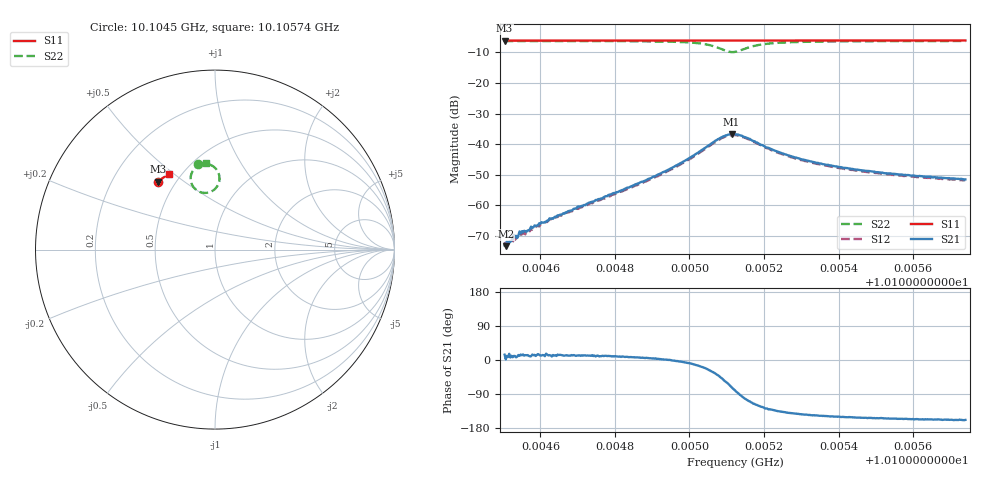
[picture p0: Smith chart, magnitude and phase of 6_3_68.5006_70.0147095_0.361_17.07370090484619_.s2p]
#  HZ  S  RI  R  50.00
! Rohde & Schwarz Vector Network Analyzer
! Rohde-Schwarz,ZNB20-2Port,1311601062101988,3.16
! Created: UTC 3/20/2024, 4:48:50 PM
! freq[Hz]  re:S11  im:S11  re:S21  im:S21  re:S12  im:S12  re:S22  im:S22
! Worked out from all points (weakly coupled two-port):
!   401 points, 10.1045 GHz to 10.10574 GHz, reference 50 ohm
!   highest |S21| = -36.68 dB at 10.10511 GHz (marker M1); lowest = -73.3 dB at 10.10451 GHz (marker M2)
!   lowest |S11| = -6.1 dB at 10.1045 GHz (marker M3), VSWR 2.94, Z = 20.2 + j20.1 ohm
!   |S11| at or under -10 dB: nowhere
!   |S22| runs from -9.9 to -6.3 dB; largest |S21 - S12| = 0.0017
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1.0104504e10  -0.3164 0.3776  0.000214 5.34e-05  0.00025 4.82e-05  -0.0972 0.4752
1.0104507e10  -0.3164 0.3778  0.000216 6.17e-06  0.000225 4.24e-05  -0.0969 0.4754
1.010452e10  -0.3158 0.3783  0.000253 2.88e-05  0.000247 7.87e-05  -0.0957 0.4757
1.0104529e10  -0.3155 0.3788  0.000326 6.14e-05  0.000266 0.000104  -0.095 0.4758
1.0104551e10  -0.3142 0.3796  0.000371 8.21e-05  0.000321 0.000106  -0.0929 0.4762
1.0104566e10  -0.3137 0.3803  0.000381 8.77e-05  0.000359 0.000102  -0.0915 0.4766
1.0104581e10  -0.3129 0.3809  0.000428 9.68e-05  0.000385 0.000133  -0.09 0.4768
1.0104625e10  -0.3111 0.3826  0.000599 0.000138  0.000558 0.000178  -0.0856 0.4775
1.0104711e10  -0.307 0.3861  0.00096 0.000212  0.000894 0.000261  -0.0757 0.4788
1.0104918e10  -0.297 0.3945  0.00323 0.000158  0.00307 0.000441  -0.0376 0.4761
1.0104986e10  -0.2937 0.3969  0.00528 -0.000556  0.00507 -5.47e-05  -0.012 0.4649
1.0105033e10  -0.2913 0.3985  0.0076 -0.00249  0.00745 -0.00162  0.013 0.4396
1.0105082e10  -0.2887 0.3998  0.00899 -0.00887  0.00939 -0.00765  0.0192 0.3658
1.0105113e10  -0.2874 0.4006  0.00454 -0.0139  0.00567 -0.0129  -0.0379 0.3176
1.0105122e10  -0.2872 0.4009  0.00251 -0.0144  0.00378 -0.0135  -0.0625 0.3161
1.0105156e10  -0.2862 0.4021  -0.0036 -0.0121  -0.00238 -0.0119  -0.1245 0.3554
1.0105203e10  -0.2842 0.4043  -0.00565 -0.00723  -0.00463 -0.0076  -0.1341 0.4128
1.0105261e10  -0.2812 0.4067  -0.00504 -0.0044  -0.00444 -0.00468  -0.1188 0.4461
1.0105329e10  -0.2779 0.4093  -0.00428 -0.0029  -0.00384 -0.00318  -0.1027 0.462
1.0105416e10  -0.2736 0.4123  -0.00358 -0.00201  -0.00326 -0.00221  -0.0876 0.4713
1.0105536e10  -0.2678 0.4167  -0.00303 -0.00143  -0.00275 -0.00162  -0.0721 0.4776
1.010574e10  -0.2574 0.4237  -0.00247 -0.000993  -0.00229 -0.00118  -0.0522 0.4828
